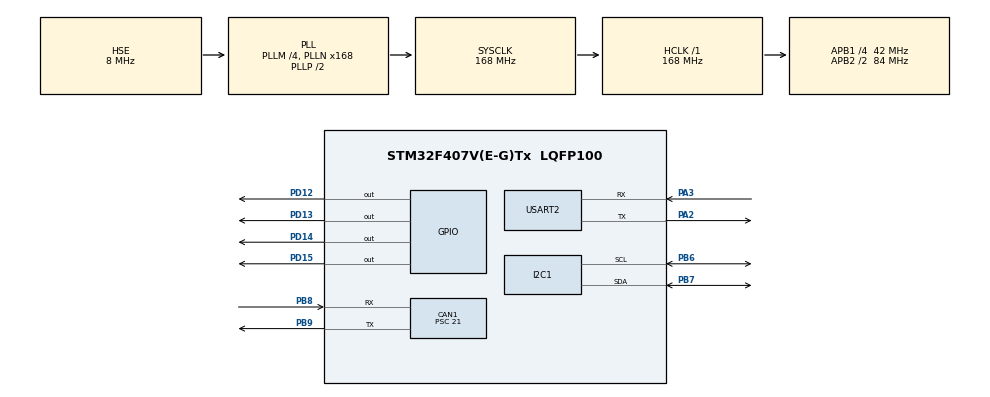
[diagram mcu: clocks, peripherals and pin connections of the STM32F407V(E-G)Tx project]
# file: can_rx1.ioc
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CAN1.BS1=CAN_BS1_2TQ
CAN1.CalculateBaudRate=500000
CAN1.CalculateTimeBit=2000
CAN1.CalculateTimeQuantum=500.0
CAN1.Prescaler=21
Mcu.Family=STM32F4
Mcu.Name=STM32F407V(E-G)Tx
Mcu.Package=LQFP100
NVIC.CAN1_RX1_IRQn=true\:0\:0\:false\:false\:true\:true\:true\:true
NVIC.PriorityGroup=NVIC_PRIORITYGROUP_0
PA2.Mode=Asynchronous
PA2.Signal=USART2_TX
PA3.Mode=Asynchronous
PA3.Signal=USART2_RX
PB6.Mode=I2C
PB6.Signal=I2C1_SCL
PB7.Mode=I2C
PB7.Signal=I2C1_SDA
PB8.GPIO_PuPd=GPIO_NOPULL
PB8.Mode=CAN_Activate
PB8.Signal=CAN1_RX
PB9.Mode=CAN_Activate
PB9.Signal=CAN1_TX
PD12.Signal=GPIO_Output
PD13.Signal=GPIO_Output
PD14.Signal=GPIO_Output
PD15.Signal=GPIO_Output
PH0-OSC_IN.Mode=HSE-External-Oscillator
PH0-OSC_IN.Signal=RCC_OSC_IN
PH1-OSC_OUT.Mode=HSE-External-Oscillator
PH1-OSC_OUT.Signal=RCC_OSC_OUT
ProjectManager.HeapSize=0x200
ProjectManager.StackSize=0x400
ProjectManager.TargetToolchain=STM32CubeIDE
RCC.48MHZClocksFreq_Value=48000000
RCC.AHBFreq_Value=168000000
RCC.APB1CLKDivider=RCC_HCLK_DIV4
RCC.APB1Freq_Value=42000000
RCC.APB1TimFreq_Value=84000000
RCC.APB2CLKDivider=RCC_HCLK_DIV2
RCC.APB2Freq_Value=84000000
RCC.APB2TimFreq_Value=168000000
RCC.CortexFreq_Value=168000000
RCC.HCLKFreq_Value=168000000
RCC.HSE_VALUE=8000000
RCC.HSI_VALUE=16000000
RCC.LSE_VALUE=32768
RCC.PLLM=4
RCC.PLLN=168
RCC.PLLQ=7
RCC.PLLSourceVirtual=RCC_PLLSOURCE_HSE
RCC.SYSCLKFreq_VALUE=168000000
RCC.SYSCLKSource=RCC_SYSCLKSOURCE_PLLCLK
RCC.VCOOutputFreq_Value=336000000
USART2.VirtualMode=VM_ASYNC
board=STM32F407G-DISC1

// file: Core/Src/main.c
/* USER CODE BEGIN Header */
/**
  ******************************************************************************
  * @file           : main.c
  * @brief          : Main program body
  ******************************************************************************
  * @attention
  *
  * Copyright (c) 2024 STMicroelectronics.
  * All rights reserved.
  *
  * This software is licensed under terms that can be found in the LICENSE file
  * in the root directory of this software component.
  * If no LICENSE file comes with this software, it is provided AS-IS.
  *
  ******************************************************************************
  */
/* USER CODE END Header */
#include "main.h"

/* USER CODE BEGIN Includes */
#include <stdio.h>
#include <string.h>
#include<stdlib.h>
/* USER CODE END Includes */

/* USER CODE BEGIN PD */
#define ULTRASONIC_TRIGGER_PORT		GPIOD
#define ULTRASONIC_TRIGGER_PIN		GPIO_PIN_11
#define ULTRASONIC_ECHO_PIN_IC		&htim4
/* USER CODE END PD */

CAN_HandleTypeDef hcan1;

I2C_HandleTypeDef hi2c1;

UART_HandleTypeDef huart2;

/* USER CODE BEGIN PV */
uint16_t previousDistance = 0;  // Variable to store previous distance
float speed = 0.0;// Variable to store calculated speed
uint32_t previousTime = 0;  // Variable to store previous time in milliseconds
uint32_t currentTime = 0;
uint8_t temperature;
//int datacheck = 0;
/* USER CODE END PV */

void SystemClock_Config(void);
static void MX_GPIO_Init(void);
static void MX_CAN1_Init(void);
static void MX_I2C1_Init(void);
static void MX_USART2_UART_Init(void);

/* USER CODE BEGIN 0 */

CAN_TxHeaderTypeDef TxHeader;
CAN_RxHeaderTypeDef RxHeader;

uint8_t TxData[8];
uint8_t RxData[8];
uint32_t TxMailbox;

int datacheck = 0;

void HAL_CAN_RxFifo1MsgPendingCallback(CAN_HandleTypeDef *hcan){
	HAL_CAN_GetRxMessage(hcan, CAN_RX_FIFO1, &RxHeader, RxData);
	HAL_GPIO_WritePin(GPIOD, GPIO_PIN_12, GPIO_PIN_SET);
	if(RxHeader.DLC == 3)
		datacheck = 1;
	HAL_GPIO_WritePin(GPIOD, GPIO_PIN_13, GPIO_PIN_SET);

}

void Calculate_Speed(void)
{
    // Calculate the change in distance
    int16_t distanceChange = RxData[2] - previousDistance;

    // Get the current time in milliseconds
    currentTime = HAL_GetTick();

    // Calculate the time interval (in seconds)
    float timeInterval = (currentTime - previousTime) / 1000.0f; // Convert ms to seconds

    // Calculate speed if the time interval is greater than zero
    if (timeInterval > 0.1f)
    {
        speed = (float)abs(distanceChange) / timeInterval;  // Speed in cm/s
    }

    // Store the current distance and time for the next measurement
    previousDistance = RxData[2];
    previousTime = currentTime;

}

/* USER CODE END 0 */

int main(void)
{

  /* USER CODE BEGIN 1 */
	char str[64];
	char str1[64];
  /* USER CODE END 1 */

  /* MCU Configuration--------------------------------------------------------*/

  /* Reset of all peripherals, Initializes the Flash interface and the Systick. */
  HAL_Init();

  /* Configure the system clock */
  SystemClock_Config();

  /* Initialize all configured peripherals */
  MX_GPIO_Init();
  MX_CAN1_Init();
  MX_I2C1_Init();
  MX_USART2_UART_Init();
  /* USER CODE BEGIN 2 */

  HAL_CAN_Start(&hcan1);

  HAL_CAN_ActivateNotification(&hcan1, CAN_IT_RX_FIFO1_MSG_PENDING);

  TxHeader.DLC = 2;
  TxHeader.IDE = CAN_ID_STD;
  TxHeader.RTR = CAN_RTR_DATA;
  TxHeader.StdId = 0x103;
  TxHeader.ExtId = 0x00;
  TxHeader.TransmitGlobalTime = DISABLE;

  TxData[0] = 50; //ms delay
  TxData[1] = 20; //loop rep

  /* USER CODE END 2 */

  /* Infinite loop */
  while (1)
  {

    /* USER CODE BEGIN 3 */

	   if(datacheck){
	  			 if (RxData[0] >= 1000)
	  			 	  {
	  			 		  HAL_GPIO_WritePin(GPIOD, GPIO_PIN_15,GPIO_PIN_SET);
	  			 		  }

	  		//MQ3_CHECK_END==================================================

	  		//TEMPERATURE_COUNTING===========================================
	  			 float Voltage = ((RxData[1]*5)/4095.0) ;
	  			 	 	  	  temperature = Voltage*100.0 ;
	  		//Temp_end=======================================================

	  		//ULTRASONIC_SPEED==============================================
	  			 	 	  	Calculate_Speed();
	  	    //SPEED_END=====================================================
	  		  //}
	  		 sprintf(str1, "rx1=%d\r\n rx2=%d\r\n rx3=%d", RxData[0], RxData[1],RxData[2]);
	  		sprintf(str, "rx1=%d\r\n rx2=%d\r\n rx3=%d\r\n", RxData[0], temperature,(uint8_t)speed);
	  		 HAL_UART_Transmit(&huart2,(uint8_t*)str, strlen(str),HAL_MAX_DELAY );
	  		 HAL_Delay(1000);

	  		 datacheck = 0;
	  		 HAL_CAN_AddTxMessage(&hcan1, &TxHeader, TxData, &TxMailbox);
	    }
  }
  /* USER CODE END 3 */
}

void SystemClock_Config(void)
{
  RCC_OscInitTypeDef RCC_OscInitStruct = {0};
  RCC_ClkInitTypeDef RCC_ClkInitStruct = {0};

  /** Configure the main internal regulator output voltage
  */
  __HAL_RCC_PWR_CLK_ENABLE();
  __HAL_PWR_VOLTAGESCALING_CONFIG(PWR_REGULATOR_VOLTAGE_SCALE1);

  /** Initializes the RCC Oscillators according to the specified parameters
  * in the RCC_OscInitTypeDef structure.
  */
  RCC_OscInitStruct.OscillatorType = RCC_OSCILLATORTYPE_HSE;
  RCC_OscInitStruct.HSEState = RCC_HSE_ON;
  RCC_OscInitStruct.PLL.PLLState = RCC_PLL_ON;
  RCC_OscInitStruct.PLL.PLLSource = RCC_PLLSOURCE_HSE;
  RCC_OscInitStruct.PLL.PLLM = 4;
  RCC_OscInitStruct.PLL.PLLN = 168;
  RCC_OscInitStruct.PLL.PLLP = RCC_PLLP_DIV2;
  RCC_OscInitStruct.PLL.PLLQ = 7;
  if (HAL_RCC_OscConfig(&RCC_OscInitStruct) != HAL_OK)
  {
    Error_Handler();
  }

  /** Initializes the CPU, AHB and APB buses clocks
  */
  RCC_ClkInitStruct.ClockType = RCC_CLOCKTYPE_HCLK|RCC_CLOCKTYPE_SYSCLK
                              |RCC_CLOCKTYPE_PCLK1|RCC_CLOCKTYPE_PCLK2;
  RCC_ClkInitStruct.SYSCLKSource = RCC_SYSCLKSOURCE_PLLCLK;
  RCC_ClkInitStruct.AHBCLKDivider = RCC_SYSCLK_DIV1;
  RCC_ClkInitStruct.APB1CLKDivider = RCC_HCLK_DIV4;
  RCC_ClkInitStruct.APB2CLKDivider = RCC_HCLK_DIV2;

  if (HAL_RCC_ClockConfig(&RCC_ClkInitStruct, FLASH_LATENCY_5) != HAL_OK)
  {
    Error_Handler();
  }
}

static void MX_CAN1_Init(void)
{

  hcan1.Instance = CAN1;
  hcan1.Init.Prescaler = 21;
  hcan1.Init.Mode = CAN_MODE_NORMAL;
  hcan1.Init.SyncJumpWidth = CAN_SJW_1TQ;
  hcan1.Init.TimeSeg1 = CAN_BS1_2TQ;
  hcan1.Init.TimeSeg2 = CAN_BS2_1TQ;
  hcan1.Init.TimeTriggeredMode = DISABLE;
  hcan1.Init.AutoBusOff = DISABLE;
  hcan1.Init.AutoWakeUp = DISABLE;
  hcan1.Init.AutoRetransmission = DISABLE;
  hcan1.Init.ReceiveFifoLocked = DISABLE;
  hcan1.Init.TransmitFifoPriority = DISABLE;
  if (HAL_CAN_Init(&hcan1) != HAL_OK)
  {
    Error_Handler();
  }
  /* USER CODE BEGIN CAN1_Init 2 */

  CAN_FilterTypeDef canfilterconfig;

  canfilterconfig.FilterActivation = CAN_FILTER_ENABLE;
  canfilterconfig.FilterBank = 2;
  canfilterconfig.FilterFIFOAssignment = CAN_FILTER_FIFO1;
  canfilterconfig.FilterIdHigh = 0x446<<5;
  canfilterconfig.FilterIdLow = 0x0000;
  canfilterconfig.FilterMode = CAN_FILTERMODE_IDMASK;
  canfilterconfig.FilterMaskIdHigh = 0x446<<5;
  canfilterconfig.FilterMaskIdLow = 0x0000;
  canfilterconfig.FilterScale = CAN_FILTERSCALE_32BIT;
  canfilterconfig.SlaveStartFilterBank = 14;

  HAL_CAN_ConfigFilter(&hcan1, &canfilterconfig);

  /* USER CODE END CAN1_Init 2 */

}

static void MX_I2C1_Init(void)
{

  hi2c1.Instance = I2C1;
  hi2c1.Init.ClockSpeed = 100000;
  hi2c1.Init.DutyCycle = I2C_DUTYCYCLE_2;
  hi2c1.Init.OwnAddress1 = 0;
  hi2c1.Init.AddressingMode = I2C_ADDRESSINGMODE_7BIT;
  hi2c1.Init.DualAddressMode = I2C_DUALADDRESS_DISABLE;
  hi2c1.Init.OwnAddress2 = 0;
  hi2c1.Init.GeneralCallMode = I2C_GENERALCALL_DISABLE;
  hi2c1.Init.NoStretchMode = I2C_NOSTRETCH_DISABLE;
  if (HAL_I2C_Init(&hi2c1) != HAL_OK)
  {
    Error_Handler();
  }

}

static void MX_USART2_UART_Init(void)
{

  huart2.Instance = USART2;
  huart2.Init.BaudRate = 115200;
  huart2.Init.WordLength = UART_WORDLENGTH_8B;
  huart2.Init.StopBits = UART_STOPBITS_1;
  huart2.Init.Parity = UART_PARITY_NONE;
  huart2.Init.Mode = UART_MODE_TX_RX;
  huart2.Init.HwFlowCtl = UART_HWCONTROL_NONE;
  huart2.Init.OverSampling = UART_OVERSAMPLING_16;
  if (HAL_UART_Init(&huart2) != HAL_OK)
  {
    Error_Handler();
  }

}

static void MX_GPIO_Init(void)
{
  GPIO_InitTypeDef GPIO_InitStruct = {0};

  /* GPIO Ports Clock Enable */
  __HAL_RCC_GPIOH_CLK_ENABLE();
  __HAL_RCC_GPIOA_CLK_ENABLE();
  __HAL_RCC_GPIOD_CLK_ENABLE();
  __HAL_RCC_GPIOB_CLK_ENABLE();

  /*Configure GPIO pin Output Level */
  HAL_GPIO_WritePin(GPIOD, GPIO_PIN_12|GPIO_PIN_13|GPIO_PIN_14|GPIO_PIN_15, GPIO_PIN_RESET);

  /*Configure GPIO pins : PD12 PD13 PD14 PD15 */
  GPIO_InitStruct.Pin = GPIO_PIN_12|GPIO_PIN_13|GPIO_PIN_14|GPIO_PIN_15;
  GPIO_InitStruct.Mode = GPIO_MODE_OUTPUT_PP;
  GPIO_InitStruct.Pull = GPIO_NOPULL;
  GPIO_InitStruct.Speed = GPIO_SPEED_FREQ_LOW;
  HAL_GPIO_Init(GPIOD, &GPIO_InitStruct);

}

void Error_Handler(void)
{
  __disable_irq();
  while (1)
  {
  }
}
